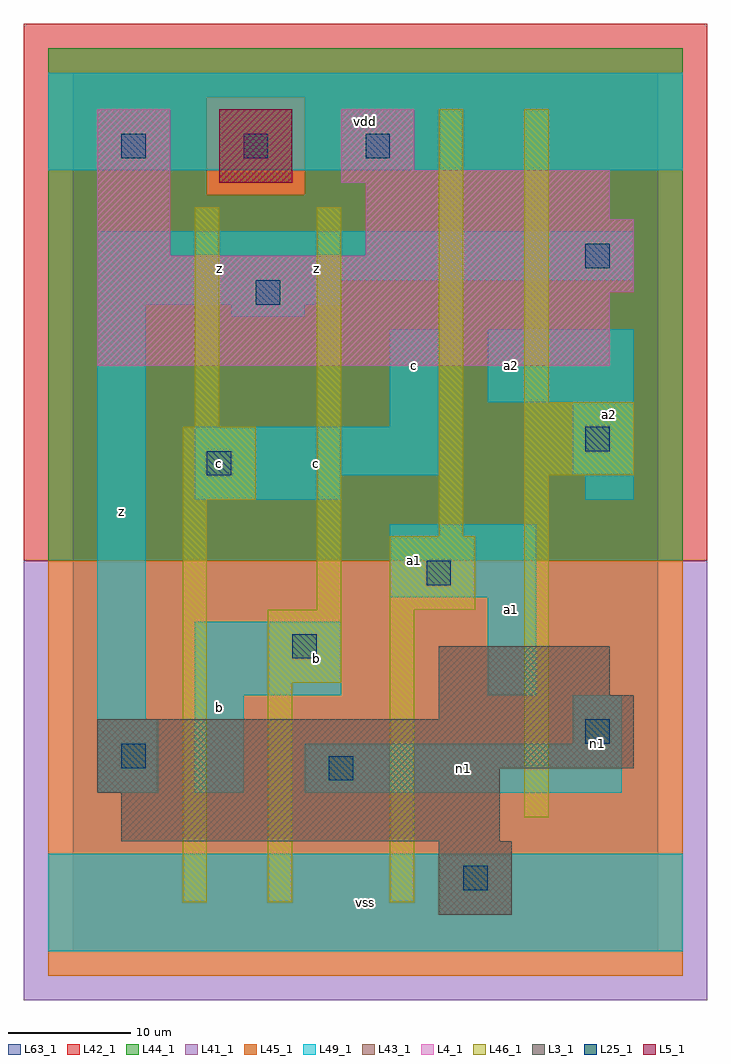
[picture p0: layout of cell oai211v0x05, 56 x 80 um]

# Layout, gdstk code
import gdstk
lib = gdstk.Library(unit=1e-6, precision=1e-09)
def R(c, l, rs):  # rectangles x0, y0, x1, y1
    for r in rs: c.add(gdstk.rectangle(r[:2], r[2:], *l))
def A(c, l, x, y, w, h, nx, ny, dx, dy):  # array of equal rectangles
    R(c, l, [(x+i*dx, y+j*dy, x+i*dx+w, y+j*dy+h) for i in range(nx) for j in range(ny)])
L3_1 = (3, 1)
L4_1 = (4, 1)
L5_1 = (5, 1)
L25_1 = (25, 1)
L41_1 = (41, 1)
L42_1 = (42, 1)
L43_1 = (43, 1)
L44_1 = (44, 1)
L45_1 = (45, 1)
L46_1 = (46, 1)
L49_1 = (49, 1)
L63_1 = (63, 1)

oai211v0x05 = lib.new_cell('oai211v0x05')
R(oai211v0x05, L3_1, [(30,3,36,9), (4,9,35,13), (2,13,35,15), (2,15,46,19), (30,19,46,21), (30,21,44,25)])
R(oai211v0x05, L4_1, [(2,48,44,54), (2,54,46,57), (2,57,8,69), (24,57,46,60), (24,60,44,63), (22,63,44,64), (22,64,28,69)])
R(oai211v0x05, L5_1, [(12,63,18,69)])
A(oai211v0x05, L25_1, 4, 65, 2, 2, 3, 1, 10, 0)
R(oai211v0x05, L25_1, [(32,5,34,7), (21,14,23,16), (4,15,6,17), (42,17,44,19), (18,24,20,26), (29,30,31,32), (11,39,13,41), (42,41,44,43), (15,53,17,55), (42,56,44,58)])
R(oai211v0x05, L41_1, [(-4,-4,52,32)])
R(oai211v0x05, L42_1, [(-4,32,52,76)])
R(oai211v0x05, L43_1, [(30,3,36,9), (4,9,35,13), (2,13,35,15), (2,15,46,19), (30,19,46,21), (30,21,44,25), (2,48,44,54), (2,54,46,57), (2,57,8,69), (24,57,46,60), (24,60,44,63), (12,63,18,69), (22,63,44,64), (22,64,28,69)])
R(oai211v0x05, L44_1, [(-2,32,50,62), (-2,62,11,70), (19,62,50,70), (-2,70,50,74)])
R(oai211v0x05, L45_1, [(-2,-2,50,32), (11,62,19,70)])
R(oai211v0x05, L46_1, [(9,4,11,37), (16,4,18,22), (26,4,28,28), (37,11,39,39), (16,22,22,28), (20,28,22,61), (26,28,33,34), (30,34,32,69), (9,37,15,43), (37,39,46,45), (10,43,12,61), (37,45,39,69)])
R(oai211v0x05, L49_1, [(-2,0,50,8), (2,13,7,19), (10,13,14,21), (19,13,45,17), (41,17,45,21), (2,19,6,53), (10,21,22,27), (34,21,38,29), (26,29,38,35), (10,37,22,39), (42,37,46,39), (10,39,30,43), (41,39,46,45), (26,43,30,51), (34,45,46,51), (13,52,19,53), (2,53,22,55), (2,55,46,59), (-2,64,50,72)])
R(oai211v0x05, L63_1, [(0,0,48,72)])
oai211v0x05.add(gdstk.Label('z', (4,36), layer=49, texttype=1))
oai211v0x05.add(gdstk.Label('b', (12,20), layer=49, texttype=1))
oai211v0x05.add(gdstk.Label('b', (20,24), layer=49, texttype=1))
oai211v0x05.add(gdstk.Label('c', (20,40), layer=49, texttype=1))
oai211v0x05.add(gdstk.Label('c', (12,40), layer=49, texttype=1))
oai211v0x05.add(gdstk.Label('z', (20,56), layer=49, texttype=1))
oai211v0x05.add(gdstk.Label('z', (12,56), layer=49, texttype=1))
oai211v0x05.add(gdstk.Label('vss', (24,4), layer=49, texttype=1))
oai211v0x05.add(gdstk.Label('a1', (28,32), layer=49, texttype=1))
oai211v0x05.add(gdstk.Label('c', (28,48), layer=49, texttype=1))
oai211v0x05.add(gdstk.Label('vdd', (24,68), layer=49, texttype=1))
oai211v0x05.add(gdstk.Label('n1', (32,15), layer=49, texttype=1))
oai211v0x05.add(gdstk.Label('n1', (43,17), layer=49, texttype=1))
oai211v0x05.add(gdstk.Label('a1', (36,28), layer=49, texttype=1))
oai211v0x05.add(gdstk.Label('a2', (36,48), layer=49, texttype=1))
oai211v0x05.add(gdstk.Label('a2', (44,44), layer=49, texttype=1))

lib.write_gds('oai211v0x05.gds')
